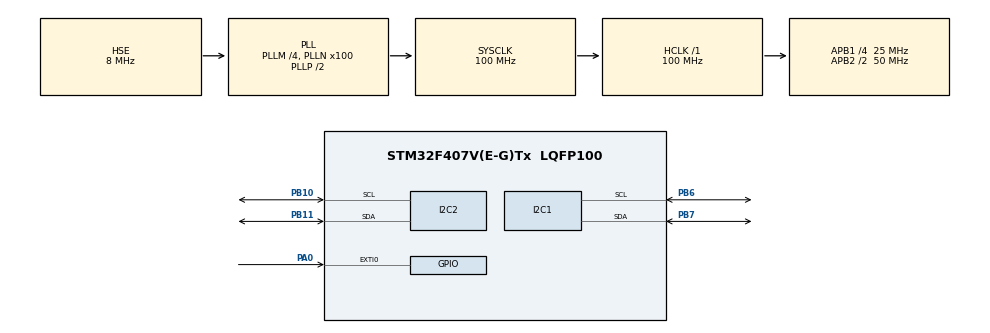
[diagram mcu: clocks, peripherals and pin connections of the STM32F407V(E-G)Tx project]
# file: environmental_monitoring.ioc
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FREERTOS.Tasks01=defaultTask,24,512,StartDefaultTask,Default,NULL,Dynamic,NULL,NULL
FREERTOS.configMINIMAL_STACK_SIZE=512
FREERTOS.configUSE_PREEMPTION=0
I2C2.I2C_Mode=I2C_Fast
Mcu.Family=STM32F4
Mcu.Name=STM32F407V(E-G)Tx
Mcu.Package=LQFP100
NVIC.EXTI0_IRQn=true\:5\:0\:false\:false\:true\:true\:true\:true\:true
NVIC.PriorityGroup=NVIC_PRIORITYGROUP_4
NVIC.TIM1_UP_TIM10_IRQn=true\:15\:0\:false\:false\:true\:false\:false\:true\:true
NVIC.TimeBase=TIM1_UP_TIM10_IRQn
NVIC.TimeBaseIP=TIM1
PA0-WKUP.Signal=GPXTI0
PB10.Mode=I2C
PB10.Signal=I2C2_SCL
PB11.Mode=I2C
PB11.Signal=I2C2_SDA
PB6.Mode=I2C
PB6.Signal=I2C1_SCL
PB7.Mode=I2C
PB7.Signal=I2C1_SDA
PH0-OSC_IN.Mode=HSE-External-Oscillator
PH0-OSC_IN.Signal=RCC_OSC_IN
PH1-OSC_OUT.Mode=HSE-External-Oscillator
PH1-OSC_OUT.Signal=RCC_OSC_OUT
ProjectManager.HeapSize=0x200
ProjectManager.StackSize=0x400
ProjectManager.TargetToolchain=STM32CubeIDE
RCC.48MHZClocksFreq_Value=50000000
RCC.AHBFreq_Value=100000000
RCC.APB1CLKDivider=RCC_HCLK_DIV4
RCC.APB1Freq_Value=25000000
RCC.APB1TimFreq_Value=50000000
RCC.APB2CLKDivider=RCC_HCLK_DIV2
RCC.APB2Freq_Value=50000000
RCC.APB2TimFreq_Value=100000000
RCC.CortexFreq_Value=100000000
RCC.HCLKFreq_Value=100000000
RCC.HSE_VALUE=8000000
RCC.HSI_VALUE=16000000
RCC.LSE_VALUE=32768
RCC.PLLM=4
RCC.PLLN=100
RCC.PLLSourceVirtual=RCC_PLLSOURCE_HSE
RCC.SYSCLKFreq_VALUE=100000000
RCC.SYSCLKSource=RCC_SYSCLKSOURCE_PLLCLK
RCC.VCOOutputFreq_Value=200000000
VP_FREERTOS_VS_CMSIS_V2.Mode=CMSIS_V2
VP_SYS_VS_tim1.Mode=TIM1
board=custom

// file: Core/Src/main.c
/* USER CODE BEGIN Header */
/**
  ******************************************************************************
  * @file           : main.c
  * @brief          : Main program body
  ******************************************************************************
  * @attention
  *
  * Copyright (c) 2025 STMicroelectronics.
  * All rights reserved.
  *
  * This software is licensed under terms that can be found in the LICENSE file
  * in the root directory of this software component.
  * If no LICENSE file comes with this software, it is provided AS-IS.
  *
  ******************************************************************************
  */
/* USER CODE END Header */
#include "main.h"
#include "cmsis_os.h"

/* USER CODE BEGIN Includes */
#include "App.h"
/* USER CODE END Includes */

/* USER CODE BEGIN PTD */
uint8_t interruptCounter = 0;
/* USER CODE END PTD */

I2C_HandleTypeDef hi2c1;
I2C_HandleTypeDef hi2c2;

/* Definitions for defaultTask */
osThreadId_t defaultTaskHandle;
const osThreadAttr_t defaultTask_attributes = {
  .name = "defaultTask",
  .stack_size = 512 * 4,
  .priority = (osPriority_t) osPriorityNormal,
};
/* USER CODE BEGIN PV */
osThreadId_t buttonTaskHandle;
osThreadId_t sensorMonitoringHandle;
osSemaphoreId_t buttonSemHandle;

const osSemaphoreAttr_t buttonSem_attributes = {
    .name = "buttonSem"
};
/* USER CODE END PV */

void SystemClock_Config(void);
static void MX_GPIO_Init(void);
static void MX_I2C1_Init(void);
static void MX_I2C2_Init(void);
void StartDefaultTask(void *argument);

int main(void)
{

  /* MCU Configuration--------------------------------------------------------*/

  /* Reset of all peripherals, Initializes the Flash interface and the Systick. */
  HAL_Init();

  /* Configure the system clock */
  SystemClock_Config();

  /* Initialize all configured peripherals */
  MX_GPIO_Init();
  MX_I2C1_Init();
  MX_I2C2_Init();

  /* Init scheduler */
  osKernelInitialize();

  /* USER CODE BEGIN RTOS_SEMAPHORES */
  /* add semaphores, ... */
  buttonSemHandle = osSemaphoreNew(1, 0, &buttonSem_attributes);
  if(buttonSemHandle == NULL)
  {
	  Error_Handler();
  }
  /* USER CODE END RTOS_SEMAPHORES */

  /* Create the thread(s) */
  /* creation of defaultTask */
  defaultTaskHandle = osThreadNew(StartDefaultTask, NULL, &defaultTask_attributes);

  /* USER CODE BEGIN RTOS_THREADS */
  /* add threads, ... */
  buttonTaskHandle = osThreadNew(Button_Task, NULL,
		  	  	  	  	  &defaultTask_attributes);
  if (buttonTaskHandle == NULL)
  {
	  Error_Handler();
  }
  // Sensor monitoring thread
  sensorMonitoringHandle = osThreadNew(SensorMonitoring_Task, NULL,
	  	  	  &defaultTask_attributes);
  if(sensorMonitoringHandle == NULL)
  {
	  Error_Handler();
  }
  /* USER CODE END RTOS_THREADS */

  /* Start scheduler */
  osKernelStart();

  /* We should never get here as control is now taken by the scheduler */

  /* Infinite loop */
  while (1)
  {

  }
}

void SystemClock_Config(void)
{
  RCC_OscInitTypeDef RCC_OscInitStruct = {0};
  RCC_ClkInitTypeDef RCC_ClkInitStruct = {0};

  /** Configure the main internal regulator output voltage
  */
  __HAL_RCC_PWR_CLK_ENABLE();
  __HAL_PWR_VOLTAGESCALING_CONFIG(PWR_REGULATOR_VOLTAGE_SCALE1);

  /** Initializes the RCC Oscillators according to the specified parameters
  * in the RCC_OscInitTypeDef structure.
  */
  RCC_OscInitStruct.OscillatorType = RCC_OSCILLATORTYPE_HSE;
  RCC_OscInitStruct.HSEState = RCC_HSE_ON;
  RCC_OscInitStruct.PLL.PLLState = RCC_PLL_ON;
  RCC_OscInitStruct.PLL.PLLSource = RCC_PLLSOURCE_HSE;
  RCC_OscInitStruct.PLL.PLLM = 4;
  RCC_OscInitStruct.PLL.PLLN = 100;
  RCC_OscInitStruct.PLL.PLLP = RCC_PLLP_DIV2;
  RCC_OscInitStruct.PLL.PLLQ = 4;
  if (HAL_RCC_OscConfig(&RCC_OscInitStruct) != HAL_OK)
  {
    Error_Handler();
  }

  /** Initializes the CPU, AHB and APB buses clocks
  */
  RCC_ClkInitStruct.ClockType = RCC_CLOCKTYPE_HCLK|RCC_CLOCKTYPE_SYSCLK
                              |RCC_CLOCKTYPE_PCLK1|RCC_CLOCKTYPE_PCLK2;
  RCC_ClkInitStruct.SYSCLKSource = RCC_SYSCLKSOURCE_PLLCLK;
  RCC_ClkInitStruct.AHBCLKDivider = RCC_SYSCLK_DIV1;
  RCC_ClkInitStruct.APB1CLKDivider = RCC_HCLK_DIV4;
  RCC_ClkInitStruct.APB2CLKDivider = RCC_HCLK_DIV2;

  if (HAL_RCC_ClockConfig(&RCC_ClkInitStruct, FLASH_LATENCY_3) != HAL_OK)
  {
    Error_Handler();
  }
}

static void MX_I2C1_Init(void)
{

  hi2c1.Instance = I2C1;
  hi2c1.Init.ClockSpeed = 100000;
  hi2c1.Init.DutyCycle = I2C_DUTYCYCLE_2;
  hi2c1.Init.OwnAddress1 = 0;
  hi2c1.Init.AddressingMode = I2C_ADDRESSINGMODE_7BIT;
  hi2c1.Init.DualAddressMode = I2C_DUALADDRESS_DISABLE;
  hi2c1.Init.OwnAddress2 = 0;
  hi2c1.Init.GeneralCallMode = I2C_GENERALCALL_DISABLE;
  hi2c1.Init.NoStretchMode = I2C_NOSTRETCH_DISABLE;
  if (HAL_I2C_Init(&hi2c1) != HAL_OK)
  {
    Error_Handler();
  }

}

static void MX_I2C2_Init(void)
{

  hi2c2.Instance = I2C2;
  hi2c2.Init.ClockSpeed = 400000;
  hi2c2.Init.DutyCycle = I2C_DUTYCYCLE_2;
  hi2c2.Init.OwnAddress1 = 0;
  hi2c2.Init.AddressingMode = I2C_ADDRESSINGMODE_7BIT;
  hi2c2.Init.DualAddressMode = I2C_DUALADDRESS_DISABLE;
  hi2c2.Init.OwnAddress2 = 0;
  hi2c2.Init.GeneralCallMode = I2C_GENERALCALL_DISABLE;
  hi2c2.Init.NoStretchMode = I2C_NOSTRETCH_DISABLE;
  if (HAL_I2C_Init(&hi2c2) != HAL_OK)
  {
    Error_Handler();
  }

}

static void MX_GPIO_Init(void)
{
  GPIO_InitTypeDef GPIO_InitStruct = {0};

  /* GPIO Ports Clock Enable */
  __HAL_RCC_GPIOH_CLK_ENABLE();
  __HAL_RCC_GPIOA_CLK_ENABLE();
  __HAL_RCC_GPIOB_CLK_ENABLE();

  /*Configure GPIO pin : PA0 */
  GPIO_InitStruct.Pin = GPIO_PIN_0;
  GPIO_InitStruct.Mode = GPIO_MODE_IT_RISING;
  GPIO_InitStruct.Pull = GPIO_NOPULL;
  HAL_GPIO_Init(GPIOA, &GPIO_InitStruct);

  /* EXTI interrupt init*/
  HAL_NVIC_SetPriority(EXTI0_IRQn, 10, 0);
  HAL_NVIC_EnableIRQ(EXTI0_IRQn);

}

/* USER CODE BEGIN 4 */
void HAL_GPIO_EXTI_Callback(uint16_t GPIO_Pin)
{
	if(GPIO_Pin == GPIO_PIN_0)
	{
		interruptCounter++;
		HAL_NVIC_DisableIRQ(EXTI0_IRQn);
		osSemaphoreRelease(buttonSemHandle);
	}
}

uint32_t GetButtonInterruptCounter(void)
{
	return interruptCounter;
}

/* USER CODE END 4 */

void StartDefaultTask(void *argument)
{
  /* USER CODE BEGIN 5 */
  /* Infinite loop */
  for(;;)
  {
	  osThreadYield();
  }
  /* USER CODE END 5 */
}

void HAL_TIM_PeriodElapsedCallback(TIM_HandleTypeDef *htim)
{
  if (htim->Instance == TIM1)
  {
    HAL_IncTick();
  }
}

void Error_Handler(void)
{
  /* USER CODE BEGIN Error_Handler_Debug */
  /* User can add his own implementation to report the HAL error return state */
  systemStatus.isSystemError = true;
	__disable_irq();
  while (1)
  {
  }
  /* USER CODE END Error_Handler_Debug */
}
